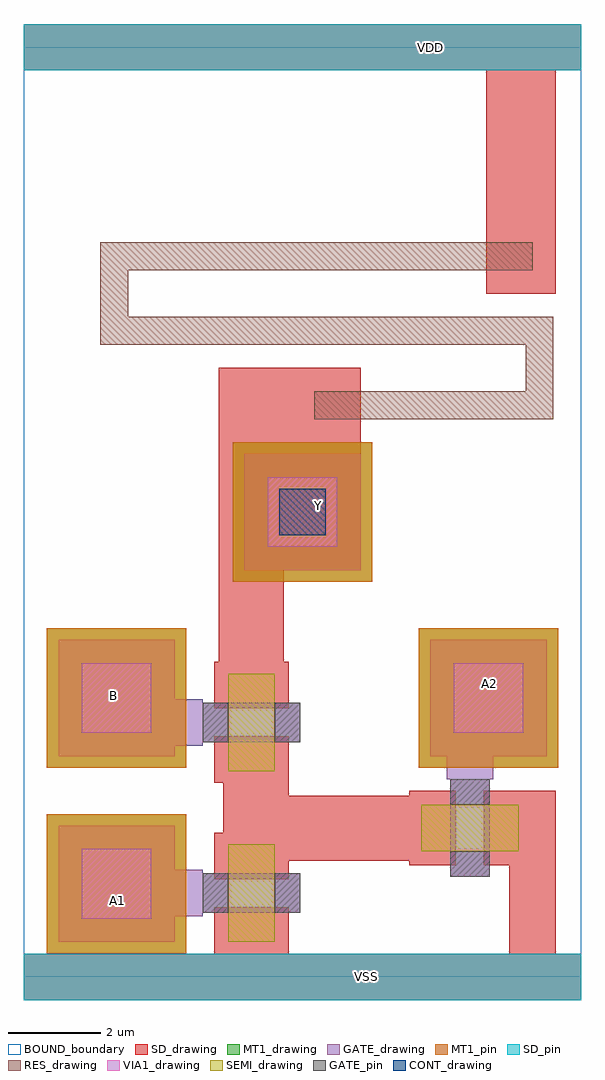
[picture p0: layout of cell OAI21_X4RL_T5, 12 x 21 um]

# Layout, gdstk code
from math import pi, radians
import gdstk
lib = gdstk.Library(unit=1e-6, precision=1e-09)
def R(c, l, rs):  # rectangles x0, y0, x1, y1
    for r in rs: c.add(gdstk.rectangle(r[:2], r[2:], *l))
def P(c, l, *ps):  # polygons
    for p in ps: c.add(gdstk.Polygon(p, *l))
RES_drawing = (1, 0)
SEMI_drawing = (3, 0)
SD_drawing = (10, 0)
SD_pin = (10, 3)
GATE_drawing = (11, 0)
GATE_pin = (11, 3)
MT1_drawing = (20, 0)
MT1_pin = (20, 3)
CONT_drawing = (30, 0)
VIA1_drawing = (41, 0)
BOUND_boundary = (150, 5)

nch_cdns_772545098260 = lib.new_cell('nch_CDNS_772545098260')
R(nch_cdns_772545098260, SEMI_drawing, [(-1.05,-0.5,1.05,0.5)])
R(nch_cdns_772545098260, SD_drawing, [(-1.3,-0.8,-0.3,0.8), (0.3,-0.8,1.3,0.8)])
R(nch_cdns_772545098260, GATE_drawing, [(-0.425,-1.05,0.425,1.05)])
R(nch_cdns_772545098260, GATE_pin, [(-0.425,-1.05,0.425,-0.5), (-0.425,0.5,0.425,1.05)])

gate_mt1_cdns_7725450982 = lib.new_cell('GATE_MT1_CDNS_772545098260')
R(gate_mt1_cdns_7725450982, GATE_drawing, [(-1.25,-1.25,1.25,1.25)])
R(gate_mt1_cdns_7725450982, MT1_drawing, [(-1.25,-1.25,1.25,1.25)])
R(gate_mt1_cdns_7725450982, VIA1_drawing, [(-0.75,-0.75,0.75,0.75)])

sd_gate_cdns_77254509826 = lib.new_cell('SD_GATE_CDNS_772545098261')
R(sd_gate_cdns_77254509826, SD_drawing, [(-1.25,-1.25,1.25,1.25)])
R(sd_gate_cdns_77254509826, GATE_drawing, [(-1.25,-1.25,1.25,1.25)])
R(sd_gate_cdns_77254509826, CONT_drawing, [(-0.5,-0.5,0.5,0.5)])

oai21_x4rl_t5 = lib.new_cell('OAI21_X4RL_T5')
R(oai21_x4rl_t5, SD_drawing, [(0,-0.5,12,0.5), (10.45,0.5,11.45,4), (4.3,3.1,5.7,4.175), (4.2,11.25,7.25,13.1), (9.95,14.7,11.45,16.3), (0,19.5,12,20.5)])
R(oai21_x4rl_t5, SD_pin, [(0,-0.5,12,0.5), (0,19.5,12,20.5)])
P(oai21_x4rl_t5, GATE_drawing, [(3.75,5.975),(3.75,4.975),(3.85,4.975),(3.85,5.1),(3.9,5.1),(3.9,5.85),(3.85,5.85),(3.85,5.975)],
  [(3.75,2.3),(3.75,1.3),(3.85,1.3),(3.85,1.425),(3.9,1.425),(3.9,2.175),(3.85,2.175),(3.85,2.3)],
  [(10.1,4.35),(9.1,4.35),(9.1,4.25),(9.225,4.25),(9.225,4.2),(9.975,4.2),(9.975,4.25),(10.1,4.25)])
R(oai21_x4rl_t5, MT1_drawing, [(0.5,0.5,3.5,3.5), (0.5,4.5,3.5,7.5), (8.5,4.5,11.5,7.5), (4.5,8.5,7.5,11.5)])
R(oai21_x4rl_t5, MT1_pin, [(0.5,0.5,3.5,3.5), (0.5,4.5,3.5,7.5), (8.5,4.5,11.5,7.5), (4.5,8.5,7.5,11.5)])
R(oai21_x4rl_t5, BOUND_boundary, [(0,0,12,20)])
oai21_x4rl_t5.add(gdstk.FlexPath([(9.6,4.35),(9.6,5.1)], 1, ends="flush", simple_path=True, layer=11, datatype=0))  # GATE_drawing
oai21_x4rl_t5.add(gdstk.FlexPath([(3.75,5.475),(3.075,5.475)], 1, ends="flush", simple_path=True, layer=11, datatype=0))  # GATE_drawing
oai21_x4rl_t5.add(gdstk.FlexPath([(3.75,1.8),(3.15,1.8)], 1, ends="flush", simple_path=True, layer=11, datatype=0))  # GATE_drawing
oai21_x4rl_t5.add(gdstk.FlexPath([(4.9,6.775),(4.9,11.5)], 1.4, ends="flush", simple_path=True, layer=10, datatype=0))  # SD_drawing
oai21_x4rl_t5.add(gdstk.FlexPath([(10.7,16.3),(10.7,19.5)], 1.5, ends="flush", simple_path=True, layer=10, datatype=0))  # SD_drawing
oai21_x4rl_t5.add(gdstk.FlexPath([(5.6,3.2),(8.3,3.2)], 1.4, ends="flush", simple_path=True, layer=10, datatype=0))  # SD_drawing
oai21_x4rl_t5.add(gdstk.FlexPath([(7.25,12.3),(11.1,12.3),(11.1,13.9),(1.95,13.9),(1.95,15.5),(9.95,15.5)], 0.6, ends=(1, 1), simple_path=True, layer=1, datatype=0))  # RES_drawing
oai21_x4rl_t5.add(gdstk.Reference(nch_cdns_772545098260, (9.6,3.2), rotation=pi))
oai21_x4rl_t5.add(gdstk.Reference(nch_cdns_772545098260, (4.9,5.475), rotation=pi/2))
oai21_x4rl_t5.add(gdstk.Reference(nch_cdns_772545098260, (4.9,1.8), rotation=pi/2))
oai21_x4rl_t5.add(gdstk.Reference(gate_mt1_cdns_7725450982, (10,6)))
oai21_x4rl_t5.add(gdstk.Reference(gate_mt1_cdns_7725450982, (2,2)))
oai21_x4rl_t5.add(gdstk.Reference(gate_mt1_cdns_7725450982, (6,10)))
oai21_x4rl_t5.add(gdstk.Reference(gate_mt1_cdns_7725450982, (2,6)))
oai21_x4rl_t5.add(gdstk.Reference(sd_gate_cdns_77254509826, (6,10)))
oai21_x4rl_t5.add(gdstk.Label('B', (1.925,6.05), layer=20, texttype=3))
oai21_x4rl_t5.add(gdstk.Label('A2', (10.025,6.3), layer=20, texttype=3))
oai21_x4rl_t5.add(gdstk.Label('A1', (2.025,1.65), layer=20, texttype=3))
oai21_x4rl_t5.add(gdstk.Label('Y', (6.35,10.15), layer=20, texttype=3))
oai21_x4rl_t5.add(gdstk.Label('VDD', (8.75,20), layer=10, texttype=3))
oai21_x4rl_t5.add(gdstk.Label('VSS', (7.375,0), layer=10, texttype=3))

lib.write_gds('OAI21_X4RL_T5.gds')
